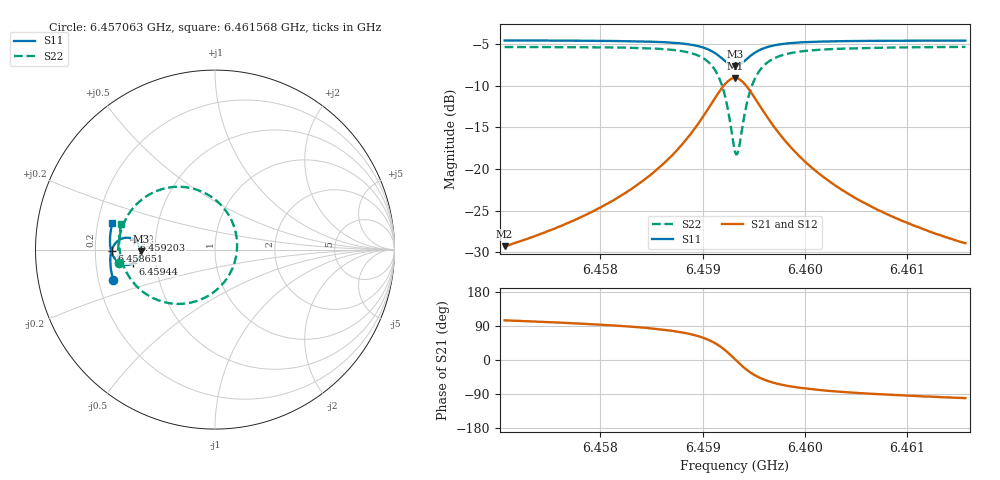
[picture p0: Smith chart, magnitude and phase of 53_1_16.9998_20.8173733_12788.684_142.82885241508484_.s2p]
#  HZ  S  RI  R  50.00
! Rohde & Schwarz Vector Network Analyzer
! Rohde-Schwarz,ZNB20-2Port,1311601062101988,3.16
! Created: UTC 3/20/2024, 10:54:23 PM
! freq[Hz]  re:S11  im:S11  re:S21  im:S21  re:S12  im:S12  re:S22  im:S22
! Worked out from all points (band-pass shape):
!   401 points, 6.457063 GHz to 6.461568 GHz, reference 50 ohm
!   highest |S21| = -9.06 dB at 6.459316 GHz (marker M1); lowest = -29.3 dB at 6.457063 GHz (marker M2)
!   |S21| within 3 dB of the highest: 6.45909 GHz to 6.459541 GHz (451.1 kHz wide, 0.00698 % of centre)
!   lowest |S11| = -7.7 dB at 6.459316 GHz (marker M3), VSWR 2.41, Z = 20.7 - j0.489 ohm
!   |S11| at or under -10 dB: nowhere
!   |S22| runs from -18.2 to -5.3 dB; largest |S21 - S12| = 0.014
!   S11 on the Smith chart (normalised r, x): 6.457063 GHz: 0.26, -0.13; 6.458651 GHz: 0.27, -0.01; 6.459203 GHz: 0.38, +0.05; 6.45944 GHz: 0.37, -0.07; 6.461568 GHz: 0.26, +0.12
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6.457063e9  -0.5679 -0.1669  -0.00882 0.0333  -0.00692 0.0332  -0.5351 -0.0761
6.4578177e9  -0.5811 -0.1005  -0.00523 0.0514  -0.00266 0.0508  -0.5389 0.0134
6.4582232e9  -0.5836 -0.0594  0.000615 0.0706  0.00392 0.0692  -0.5302 0.0788
6.4585723e9  -0.5794 -0.0173  0.0154 0.1006  0.0193 0.0978  -0.5029 0.1587
6.4586512e9  -0.5765 -0.00629  0.0218 0.1106  0.026 0.1074  -0.4906 0.1823
6.4588427e9  -0.5627 0.0246  0.0507 0.1427  0.0547 0.1376  -0.4366 0.2529
6.4589778e9  -0.5407 0.0489  0.0946 0.1715  0.0978 0.1644  -0.3554 0.3127
6.459113e9  -0.4959 0.0662  0.1838 0.1874  0.1845 0.1801  -0.1926 0.3499
6.4592031e9  -0.4502 0.0552  0.2751 0.1547  0.2755 0.1489  -0.0235 0.2961
6.4592707e9  -0.4208 0.022  0.3362 0.0808  0.3384 0.0755  0.0924 0.1625
6.4593157e9  -0.4141 -0.00978  0.3521 0.0115  0.356 0.0044  0.1233 0.0326
6.4593495e9  -0.4182 -0.0339  0.3456 -0.0419  0.3498 -0.0513  0.11 -0.0686
6.4593946e9  -0.4343 -0.0606  0.316 -0.1025  0.3182 -0.1147  0.0497 -0.1828
6.4594396e9  -0.4569 -0.0772  0.2728 -0.1439  0.2719 -0.1574  -0.0377 -0.2578
6.4595297e9  -0.501 -0.0842  0.1863 -0.1746  0.18 -0.1864  -0.2098 -0.3026
6.4595973e9  -0.5257 -0.0768  0.1373 -0.1724  0.1291 -0.1814  -0.3044 -0.2864
6.4596762e9  -0.5456 -0.0637  0.0971 -0.16  0.0884 -0.1662  -0.3792 -0.2508
6.4598338e9  -0.5676 -0.0359  0.0516 -0.1313  0.044 -0.1342  -0.4602 -0.1772
6.4600704e9  -0.5806 -0.000519  0.0223 -0.099  0.0163 -0.0996  -0.5084 -0.0936
6.4604083e9  -0.5854 0.0401  0.00615 -0.0717  0.00201 -0.0713  -0.5296 -0.014
6.460825e9  -0.5836 0.0825  -0.00163 -0.0528  -0.00446 -0.0519  -0.5337 0.0541
6.4615684e9  -0.5718 0.1487  -0.0067 -0.0353  -0.00836 -0.0343  -0.5223 0.1431
